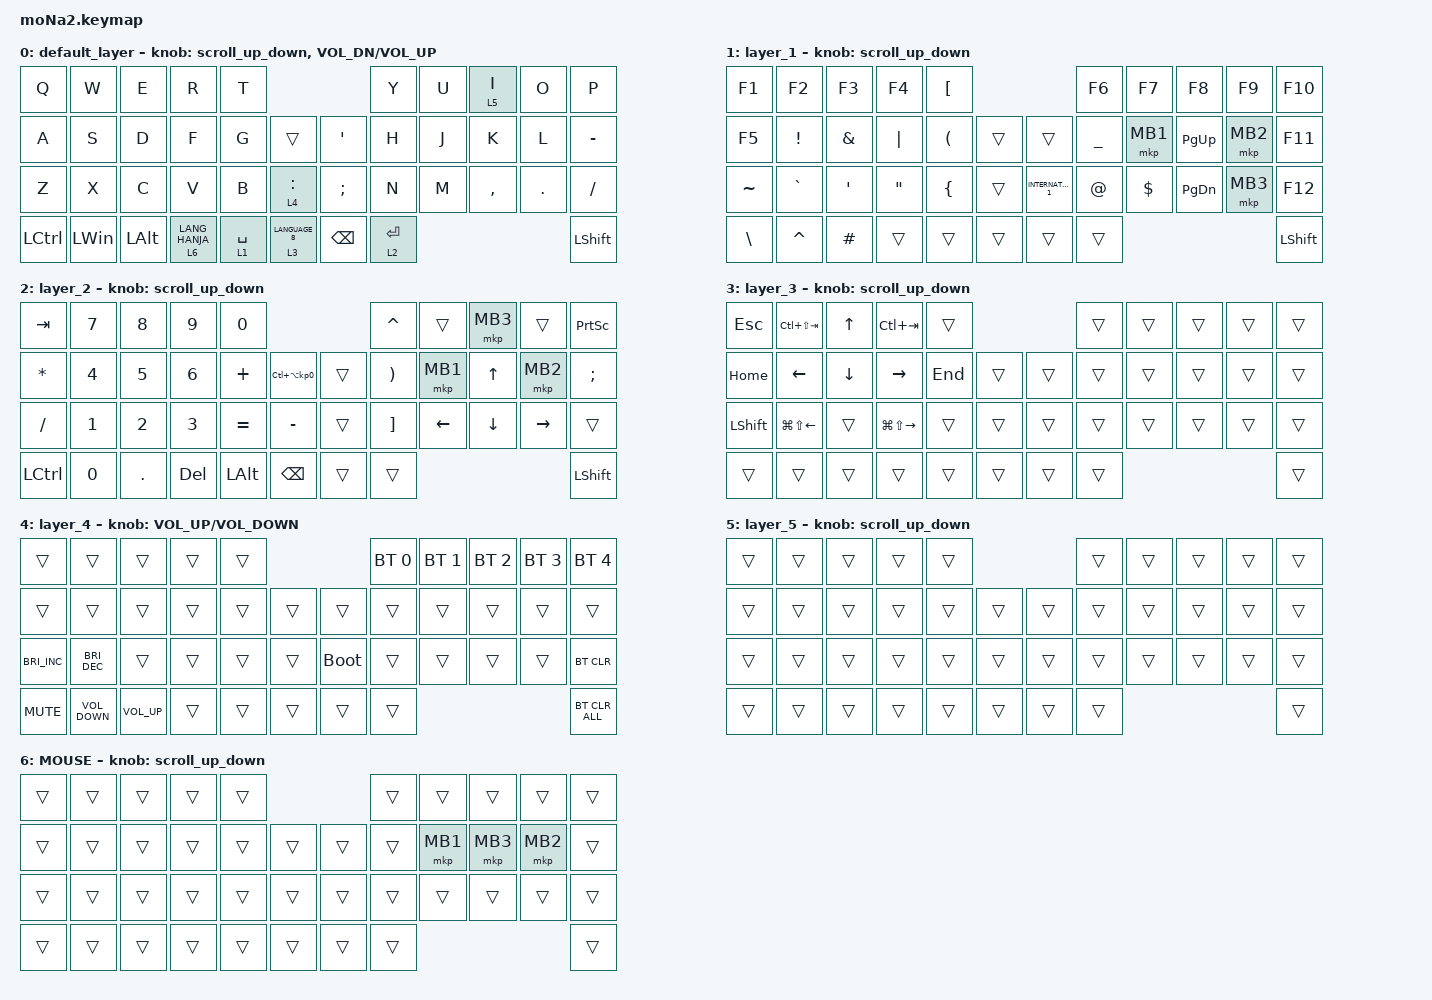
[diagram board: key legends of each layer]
#include <behaviors.dtsi>
#include <dt-bindings/zmk/bt.h>
#include <dt-bindings/zmk/keys.h>
#include <dt-bindings/zmk/pointing.h>
#include <dt-bindings/zmk/pointing.h>

#define ZMK_POINTING_DEFAULT_SCRL_VAL 100
#define MOUSE 6

&mt {
    flavor = "balanced";
    quick-tap-ms = <0>;
};

/ {
    combos { compatible = "zmk,combos"; };

    macros {
        to_layer_0: to_layer_0 {
            compatible = "zmk,behavior-macro-one-param";
            #binding-cells = <1>;
            bindings = <&to 0 &macro_param_1to1 &kp MACRO_PLACEHOLDER>;
            label = "TO_LAYER_0";
        };
    };

    behaviors {
        lt_to_layer_0: lt_to_layer_0 {
            compatible = "zmk,behavior-hold-tap";
            label = "LAYER_TAP_TO_0";
            bindings = <&mo>, <&to_layer_0>;

            #binding-cells = <2>;
            tapping-term-ms = <200>;
        };

        scroll_up_down: behavior_sensor_rotate_mouse_wheel_up_down {
            compatible = "zmk,behavior-sensor-rotate";
            #sensor-binding-cells = <0>;
            bindings = <&msc SCRL_UP>, <&msc SCRL_DOWN>;

            tap-ms = <20>;
        };
    };

    keymap {
        compatible = "zmk,keymap";

        default_layer {
            bindings = <
&kp Q      &kp W         &kp E         &kp R             &kp T                                            &kp Y        &kp U  &lt 5 I    &kp O    &kp P
&kp A      &kp S         &kp D         &kp F             &kp G        &trans              &kp APOSTROPHE  &kp H        &kp J  &kp K      &kp L    &kp MINUS
&kp Z      &kp X         &kp C         &kp V             &kp B        &lt 4 COLON         &kp SEMICOLON   &kp N        &kp M  &kp COMMA  &kp DOT  &kp SLASH
&kp LCTRL  &kp LEFT_WIN  &kp LEFT_ALT  &lt 6 LANG_HANJA  &lt 1 SPACE  &lt 3 LANGUAGE_8    &kp BACKSPACE   &lt 2 ENTER                             &kp LSHIFT
            >;

            sensor-bindings =
                <&scroll_up_down>,
                <&inc_dec_kp C_VOL_DN C_VOL_UP>;
        };

        layer_1 {
            bindings = <
&kp F1     &kp F2     &kp F3            &kp F4    &kp LBKT                                 &kp F6     &kp F7      &kp F8         &kp F9    &kp F10
&kp F5     &kp EXCL   &kp AMPERSAND     &kp PIPE  &kp LPAR  &trans    &trans               &kp UNDER  &mkp MB1    &kp PAGE_UP    &mkp MB2  &kp F11
&kp TILDE  &kp GRAVE  &kp SINGLE_QUOTE  &kp DQT   &kp LBRC  &trans    &kp INTERNATIONAL_1  &kp AT     &kp DOLLAR  &kp PAGE_DOWN  &mkp MB3  &kp F12
&kp BSLH   &kp CARET  &kp HASH          &trans    &trans    &trans    &trans               &trans                                          &kp LSHFT
            >;

            sensor-bindings = <&scroll_up_down>;
        };

        layer_2 {
            bindings = <
&kp TAB    &kp N7        &kp N8        &kp N9        &kp N0                                        &kp CARET              &trans          &mkp MB3        &trans     &kp PRINTSCREEN
&kp ASTRK  &kp NUMBER_4  &kp N5        &kp NUMBER_6  &kp PLUS   &kp LC(LA(KP_NUMBER_0))    &trans  &kp RIGHT_PARENTHESIS  &mkp MB1        &kp UP_ARROW    &mkp MB2   &kp SEMI
&kp SLASH  &kp NUMBER_1  &kp NUMBER_2  &kp NUMBER_3  &kp EQUAL  &kp MINUS                  &trans  &kp RIGHT_BRACKET      &kp LEFT_ARROW  &kp DOWN_ARROW  &kp RIGHT  &trans
&kp LCTRL  &kp N0        &kp PERIOD    &kp DEL       &kp LALT   &kp BACKSPACE              &trans  &trans                                                            &kp LSHFT
            >;

            sensor-bindings = <&scroll_up_down>;
        };

        layer_3 {
            bindings = <
&kp ESCAPE      &kp LC(LS(TAB))         &kp UP_ARROW    &kp LC(TAB)              &trans                     &trans  &trans  &trans  &trans  &trans
&kp HOME        &kp LEFT_ARROW          &kp DOWN_ARROW  &kp RIGHT_ARROW          &kp END  &trans    &trans  &trans  &trans  &trans  &trans  &trans
&kp LEFT_SHIFT  &kp LG(LS(LEFT_ARROW))  &trans          &kp LG(LS(RIGHT_ARROW))  &trans   &trans    &trans  &trans  &trans  &trans  &trans  &trans
&trans          &trans                  &trans          &trans                   &trans   &trans    &trans  &trans                          &trans
            >;

            sensor-bindings = <&scroll_up_down>;
        };

        layer_4 {
            bindings = <
&trans                &trans                &trans           &trans  &trans                         &bt BT_SEL 0  &bt BT_SEL 1  &bt BT_SEL 2  &bt BT_SEL 3  &bt BT_SEL 4
&trans                &trans                &trans           &trans  &trans  &trans    &trans       &trans        &trans        &trans        &trans        &trans
&kp C_BRIGHTNESS_INC  &kp C_BRIGHTNESS_DEC  &trans           &trans  &trans  &trans    &bootloader  &trans        &trans        &trans        &trans        &bt BT_CLR
&kp C_MUTE            &kp C_VOLUME_DOWN     &kp C_VOLUME_UP  &trans  &trans  &trans    &trans       &trans                                                  &bt BT_CLR_ALL
            >;

            sensor-bindings = <&inc_dec_kp C_VOL_UP C_VOLUME_DOWN>;
        };

        layer_5 {
            bindings = <
&trans  &trans  &trans  &trans  &trans                    &trans  &trans  &trans  &trans  &trans
&trans  &trans  &trans  &trans  &trans  &trans    &trans  &trans  &trans  &trans  &trans  &trans
&trans  &trans  &trans  &trans  &trans  &trans    &trans  &trans  &trans  &trans  &trans  &trans
&trans  &trans  &trans  &trans  &trans  &trans    &trans  &trans                          &trans
            >;

            sensor-bindings = <&scroll_up_down>;
        };

        MOUSE {
            bindings = <
&trans  &trans  &trans  &trans  &trans                    &trans  &trans    &trans    &trans    &trans
&trans  &trans  &trans  &trans  &trans  &trans    &trans  &trans  &mkp MB1  &mkp MB3  &mkp MB2  &trans
&trans  &trans  &trans  &trans  &trans  &trans    &trans  &trans  &trans    &trans    &trans    &trans
&trans  &trans  &trans  &trans  &trans  &trans    &trans  &trans                                &trans
            >;

            sensor-bindings = <&scroll_up_down>;
        };
    };
};
